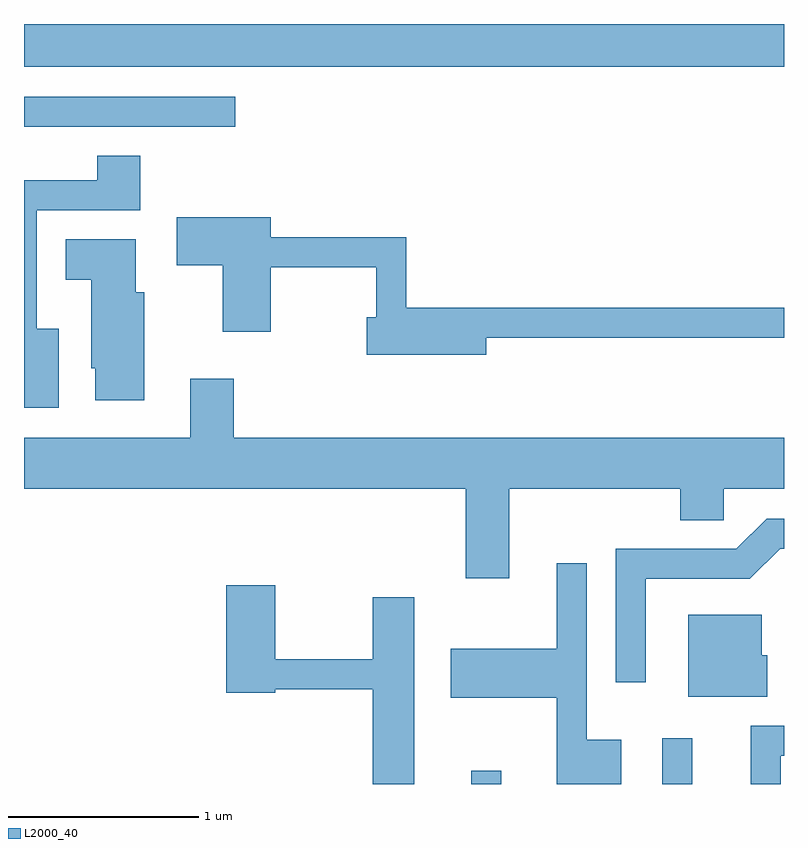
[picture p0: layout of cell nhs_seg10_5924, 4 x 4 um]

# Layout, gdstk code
import gdstk
lib = gdstk.Library(unit=1e-6, precision=1e-09)
def R(c, l, rs):  # rectangles x0, y0, x1, y1
    for r in rs: c.add(gdstk.rectangle(r[:2], r[2:], *l))
def P(c, l, *ps):  # polygons
    for p in ps: c.add(gdstk.Polygon(p, *l))
L2000_40 = (2000, 40)

nhs_seg10_5924 = lib.new_cell('nhs_seg10_5924')
R(nhs_seg10_5924, L2000_40, [(361.966,2174.522,362.124,2174.593), (362.971,2174.522,363.129,2174.763), (359.611,2177.981,360.723,2178.139), (359.611,2178.296,363.611,2178.522)])
P(nhs_seg10_5924, L2000_40, [(359.794,2176.919),(359.679,2176.919),(359.679,2177.541),(360.224,2177.541),(360.224,2177.829),(359.996,2177.829),(359.996,2177.699),(359.611,2177.699),(359.611,2176.501),(359.794,2176.501)],
  [(362.044,2176.871),(363.611,2176.871),(363.611,2177.029),(361.624,2177.029),(361.624,2177.399),(360.909,2177.399),(360.909,2177.504),(360.416,2177.504),(360.416,2177.251),(360.656,2177.251),(360.656,2176.901),(360.909,2176.901),(360.909,2177.241),(361.466,2177.241),(361.466,2176.979),(361.416,2176.979),(361.416,2176.781),(362.044,2176.781)],
  [(360.244,2177.109),(360.199,2177.109),(360.199,2177.389),(359.831,2177.389),(359.831,2177.176),(359.966,2177.176),(359.966,2176.711),(359.986,2176.711),(359.986,2176.541),(360.244,2176.541)],
  [(362.164,2176.076),(363.066,2176.076),(363.066,2175.911),(363.294,2175.911),(363.294,2176.076),(363.611,2176.076),(363.611,2176.344),(360.714,2176.344),(360.714,2176.654),(360.486,2176.654),(360.486,2176.344),(359.611,2176.344),(359.611,2176.076),(361.936,2176.076),(361.936,2175.606),(362.164,2175.606)],
  [(362.884,2175.601),(363.432,2175.601),(363.592,2175.761),(363.611,2175.761),(363.611,2175.919),(363.519,2175.919),(363.359,2175.759),(362.726,2175.759),(362.726,2175.058),(362.884,2175.058)],
  [(362.754,2174.754),(362.574,2174.754),(362.574,2175.683),(362.416,2175.683),(362.416,2175.234),(361.856,2175.234),(361.856,2174.976),(362.416,2174.976),(362.416,2174.522),(362.754,2174.522)],
  [(361.664,2175.504),(361.446,2175.504),(361.446,2175.179),(360.934,2175.179),(360.934,2175.569),(360.676,2175.569),(360.676,2175.001),(360.934,2175.001),(360.934,2175.021),(361.446,2175.021),(361.446,2174.522),(361.664,2174.522)],
  [(363.524,2175.199),(363.494,2175.199),(363.494,2175.414),(363.106,2175.414),(363.106,2174.981),(363.524,2174.981)],
  [(363.594,2174.671),(363.611,2174.671),(363.611,2174.829),(363.436,2174.829),(363.436,2174.522),(363.594,2174.522)])

lib.write_gds('nhs_seg10_5924.gds')
